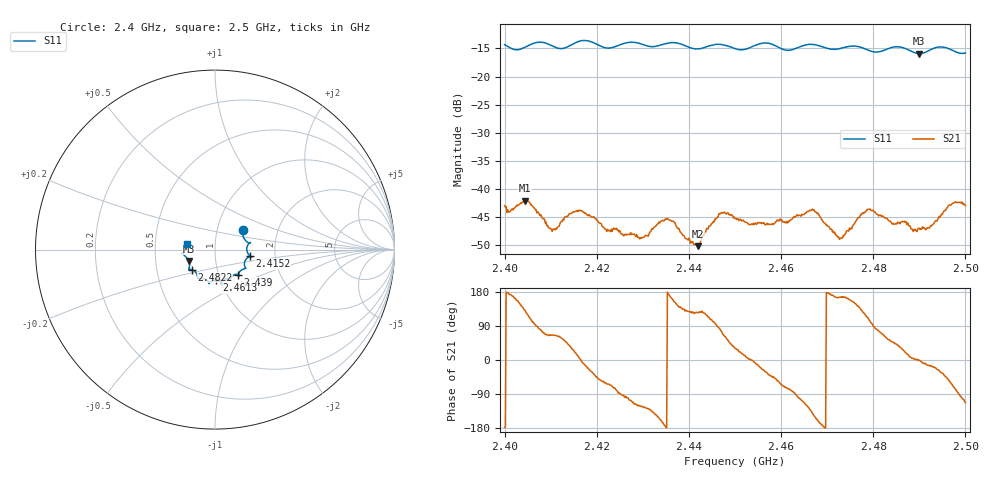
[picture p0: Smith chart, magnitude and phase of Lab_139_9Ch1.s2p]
# Hz S RI R 50
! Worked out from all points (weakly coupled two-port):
!   601 points, 2.4 GHz to 2.5 GHz, reference 50 ohm
!   highest |S21| = -42.07 dB at 2.4045 GHz (marker M1); lowest = -50.2 dB at 2.442 GHz (marker M2)
!   lowest |S11| = -15.9 dB at 2.49 GHz (marker M3), VSWR 1.38, Z = 36.9 - j4.85 ohm
!   |S11| at or under -10 dB: start of sweep to end of sweep
!   S12 and S22 are empty: the file has one direction only
!   S11 on the Smith chart (normalised r, x): 2.4 GHz: 1.33, +0.31; 2.4152 GHz: 1.48, -0.11; 2.439 GHz: 1.24, -0.36; 2.4613 GHz: 0.96, -0.34; 2.4822 GHz: 0.76, -0.17; 2.5 GHz: 0.72, +0.05
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2.4e9  0.1563 0.1114  -0.00708 -0.000287  0 0  0 0
2.4045e9  0.1774 0.0429  -0.00507 0.00603  0 0  0 0
2.4105e9  0.1837 0.027  0.00183 0.00399  0 0  0 0
2.415167e9  0.1945 -0.036  0.00581 0.00225  0 0  0 0
2.416667e9  0.2041 -0.0418  0.00638 -0.000258  0 0  0 0
2.422167e9  0.1687 -0.0611  0.00188 -0.00373  0 0  0 0
2.429333e9  0.1656 -0.106  -0.00184 -0.00308  0 0  0 0
2.433333e9  0.1331 -0.1326  -0.0043 -0.00238  0 0  0 0
2.436167e9  0.135 -0.1478  -0.005 0.00145  0 0  0 0
2.439e9  0.1282 -0.1395  -0.00261 0.00274  0 0  0 0
2.442e9  0.0984 -0.1459  -0.00175 0.00255  0 0  0 0
2.447e9  0.0853 -0.1729  0.00141 0.00596  0 0  0 0
2.45e9  0.0686 -0.1634  0.00469 0.00281  0 0  0 0
2.461333e9  0.00796 -0.1709  0.00126 -0.0048  0 0  0 0
2.466667e9  -0.0333 -0.1905  -0.00478 -0.00444  0 0  0 0
2.472833e9  -0.0758 -0.1604  -0.0035 0.000893  0 0  0 0
2.478833e9  -0.1 -0.1398  -0.00241 0.00609  0 0  0 0
2.482167e9  -0.1281 -0.1117  0.00221 0.0052  0 0  0 0
2.483333e9  -0.1393 -0.1103  0.00309 0.0042  0 0  0 0
2.49e9  -0.1466 -0.064  0.00446 -5e-05  0 0  0 0
2.497333e9  -0.1697 -0.0082  0.0026 -0.00699  0 0  0 0
2.5e9  -0.1585 0.0333  -0.00269 -0.00654  0 0  0 0
